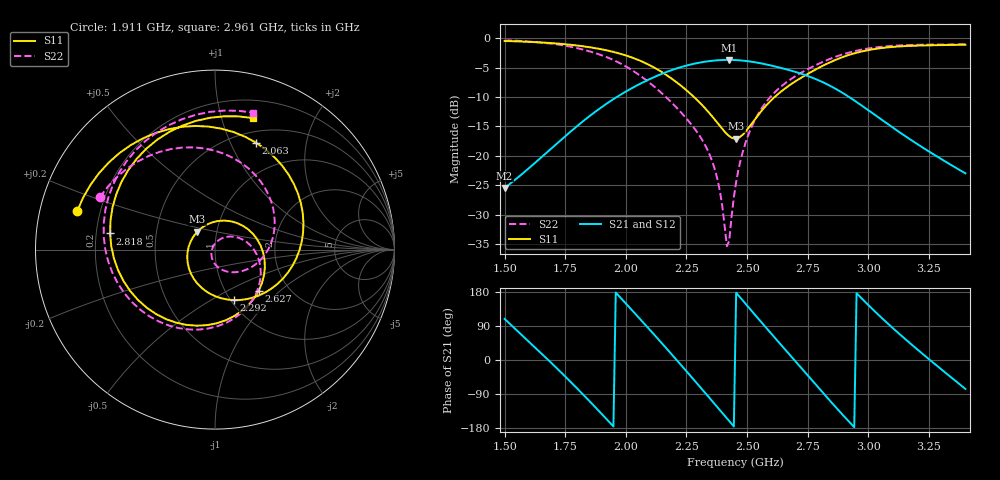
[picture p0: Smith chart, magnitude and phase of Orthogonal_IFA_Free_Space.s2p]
! Touchstone file from project Orthogonal_PIFA_Free_Space
! Exported from HFSS 2017.0.0
! Variables:
!  A = 0.19mm
!  Airbox_dist = 125mm
!  Ant_Shift = -0.0300000000000002mm
!  Antenna_Offset = 3.5mm
!  Antenna_Trace_Width = 1.48mm
!  E_X = 250mm
!  E_Y = 250mm
!  E_Z = 2mm
!  Feed_Length = 0.148mm
!  Feed_Offset = -4.94mm
!  Feed_Width = 1.48mm
!  Length1 = 27.5mm
!  Length2 = 4.9mm
!  VirtualObject_dist = 12.4914mm
!  d1 = 1.3mm
!  d2 = 4.6mm
!  d3 = 5.49mm
!  deltaY = 50mm
!  sep = 10mm
!  subH = 62mil
!  subX = 49.4mm
!  subY = 98.8mm
!  t = 80mm
# GHZ S MA R 50.000000
! Terminal data exported
! Port[1] = Cylinder1_1_T1
! Port[2] = Cylinder1_T1
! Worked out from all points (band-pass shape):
!   200 points, 1.5 GHz to 3.4 GHz, reference per port
!   highest |S21| = -3.67 dB at 2.426 GHz (marker M1); lowest = -25.4 dB at 1.5 GHz (marker M2)
!   |S21| within 3 dB of the highest: 2.113 GHz to 2.767 GHz (654.1 MHz wide, 26.8 % of centre)
!   lowest |S11| = -17.1 dB at 2.455 GHz (marker M3), VSWR 1.33
!   |S11| at or under -10 dB: 2.281 GHz to 2.613 GHz (332.2 MHz wide, 13.6 % of centre)
!   |S22| runs from -35.4 to -0.4 dB; largest |S21 - S12| = 0.00035
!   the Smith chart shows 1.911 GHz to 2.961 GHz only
!   S11 on the Smith chart (normalised r, x): 1.911 GHz: 0.11, +0.13; 2.063 GHz: 0.62, +1.25; 2.292 GHz: 1.03, -0.64; 2.627 GHz: 1.42, -0.73; 2.818 GHz: 0.26, +0.07; 2.961 GHz: 0.36, +1.26
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1.5  0.9478 42.7  0.0534 108.4  0.05337 108.5  0.9571 41.0
! Port Impedance50 0 0 0 0 0 50 0
1.58593  0.9354 -5.8  0.07408 57.0  0.07413 56.9  0.9429 -8.9
1.690955  0.9108 -64.7  0.1147 -6.7  0.1146 -6.6  0.9012 -69.4
1.824623  0.8544 -142.9  0.1979 -91.7  0.1978 -91.7  0.8001 -150.7
1.910553  0.7975 164.5  0.2689 -149.3  0.2689 -149.3  0.7044 155.5
1.986935  0.7285 116.8  0.3396 158.2  0.3396 158.2  0.5965 107.6
2.063317  0.6383 69.1  0.4146 104.8  0.4145 104.9  0.4733 61.9
2.139698  0.5292 22.5  0.4904 50.5  0.4904 50.5  0.3535 20.2
2.21608  0.4119 -23.0  0.5597 -4.9  0.5597 -4.9  0.2481 -17.1
2.292462  0.3004 -69.6  0.6144 -61.1  0.6142 -61.1  0.1605 -51.9
2.359296  0.2124 -117.9  0.645 -110.8  0.6448 -110.9  0.08598 -87.4
2.426131  0.1472 172.9  0.6552 -161.0  0.6551 -161.0  0.01892 126.7
2.454774  0.1403 134.6  0.6525 177.4  0.6525 177.4  0.06008 66.4
2.540704  0.2159 31.7  0.6211 113.0  0.6212 113.0  0.2178 -0.4
2.626633  0.3344 -43.3  0.5684 49.6  0.5685 49.6  0.3679 -61.1
2.693467  0.423 -95.9  0.5217 0.7  0.5217 0.7  0.468 -108.0
2.769849  0.5254 -153.8  0.4612 -55.3  0.4612 -55.3  0.5734 -160.8
2.817588  0.5915 171.2  0.418 -90.2  0.418 -90.2  0.637 166.7
2.960804  0.7624 74.0  0.2782 170.0  0.2782 170.1  0.792 74.6
3.084925  0.8391 0.1  0.1832 93.3  0.1832 93.3  0.8585 3.1
3.247236  0.871 -89.4  0.1097 3.5  0.1097 3.5  0.8831 -84.6
3.4  0.8822 -174.2  0.07101 -76.3  0.07101 -76.3  0.8874 -168.2
